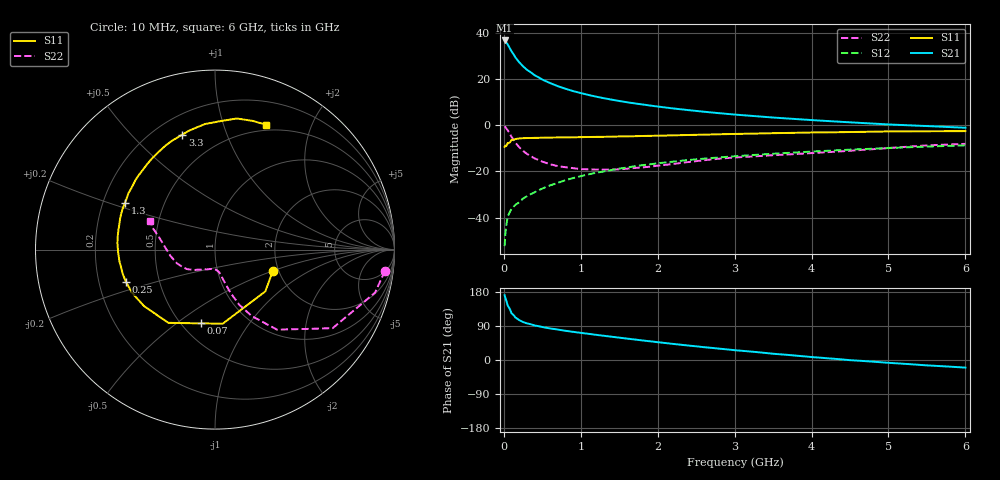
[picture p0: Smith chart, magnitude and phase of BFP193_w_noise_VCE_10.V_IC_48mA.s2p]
! Infineon Technologies  Discrete & RF Semiconductors
! BFP193
! VCE =  10. V,  IC =  48 mA
! Common Emitter S-Parameters:  Jan 2017
# GHz  S  MA  R  50
!  f  S11  S21  S12  S22
! GHz  MAG  ANG  MAG  ANG  MAG  ANG  MAG  ANG
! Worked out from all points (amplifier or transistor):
!   77 points, 10 MHz to 6 GHz, reference 50 ohm
!   highest |S21| = 36.8 dB at 10 MHz (marker M1)
!   |S21| within 3 dB of that: start of sweep to 71.71 MHz
!   unconditionally stable (mu >= 1): 631.5 MHz to 2.382 GHz
!   at 130 MHz: K = 0.56, MSG = 32.9 dB, |S12| = -35.1 dB
!   at 2.2 GHz: K = 1.01, MAG = 10.9 dB, |S12| = -15.7 dB
!   at 6 GHz: K = 0.90, MSG = 3.8 dB, |S12| = -8.7 dB
!   lowest NFmin = 1.49 dB at 450 MHz
!   S11 on the Smith chart (normalised r, x): 10 MHz: 1.87, -0.50; 70 MHz: 0.62, -0.62; 250 MHz: 0.32, -0.16; 1.3 GHz: 0.29, +0.22; 3.3 GHz: 0.31, +0.71; 6 GHz: 0.43, +1.39
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0.01  0.3432 -20.0  69.5 171.0  0.0024 79.1  0.9539 -7.2
0.02  0.3645 -39.7  68.03 163.6  0.0045 89.0  0.9238 -15.0
0.05  0.4151 -84.1  57.12 143.8  0.0104 67.1  0.7885 -33.7
0.07  0.4184 -100.8  49.8 137.3  0.0124 63.0  0.6911 -39.7
0.1  0.4838 -122.5  40.54 123.4  0.0155 58.8  0.5649 -52.2
0.15  0.5054 -141.5  29.88 112.3  0.0189 56.8  0.422 -61.1
0.2  0.5208 -152.3  23.39 105.3  0.0214 59.2  0.3366 -66.2
0.25  0.5281 -160.1  19.1 100.2  0.026 59.6  0.28 -68.8
0.3  0.5314 -165.2  16.08 96.7  0.029 61.8  0.2406 -70.9
0.4  0.5363 -172.9  12.26 91.1  0.0355 64.4  0.1919 -73.4
0.5  0.5402 -178.8  9.869 87.0  0.0426 66.0  0.1635 -75.5
0.6  0.5446 176.4  8.283 83.4  0.0498 66.5  0.1438 -77.4
0.7  0.547 172.6  7.11 80.3  0.0564 67.4  0.1307 -78.9
0.9  0.5513 165.3  5.547 74.3  0.0719 66.6  0.1182 -83.7
1.1  0.5599 158.9  4.573 69.1  0.0866 65.7  0.1113 -89.2
1.3  0.565 152.8  3.883 63.9  0.1004 64.0  0.1101 -96.2
2.1  0.602 130.9  2.445 44.8  0.157 55.3  0.1392 -126.7
3.1  0.6562 109.5  1.667 24.2  0.2194 43.2  0.2055 -152.2
3.3  0.6659 105.9  1.571 20.6  0.2309 41.0  0.2151 -156.4
4.1  0.704 93.1  1.274 6.3  0.2758 31.8  0.256 -174.5
5.1  0.7409 79.3  1.031 -8.7  0.3276 20.5  0.3312 165.5
6  0.7517 68.0  0.889 -20.1  0.3692 10.4  0.3975 156.0
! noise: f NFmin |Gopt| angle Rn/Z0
0.45  1.49  0.42  -171  0.08
0.9  1.54  0.44  -164  0.08
1.9  2.17  0.61  -132  0.22
2.4  2.5  0.64  -119  0.47
